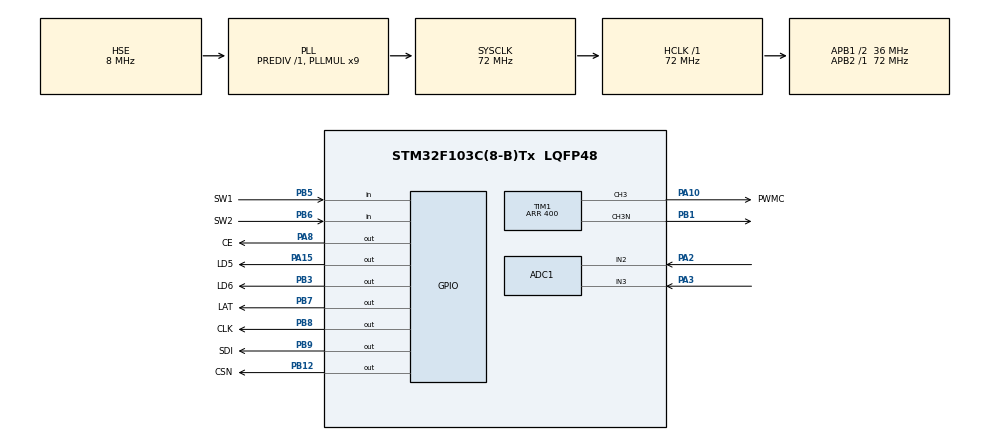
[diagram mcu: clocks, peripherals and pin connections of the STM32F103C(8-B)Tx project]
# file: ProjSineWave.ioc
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ADC1.Channel-0\#ChannelRegularConversion=ADC_CHANNEL_2
ADC1.Channel-1\#ChannelRegularConversion=ADC_CHANNEL_3
ADC1.ContinuousConvMode=ENABLE
ADC1.NbrOfConversion=2
ADC1.NbrOfConversionFlag=1
ADC1.Rank-0\#ChannelRegularConversion=1
ADC1.Rank-1\#ChannelRegularConversion=2
ADC1.SamplingTime-0\#ChannelRegularConversion=ADC_SAMPLETIME_1CYCLE_5
ADC1.SamplingTime-1\#ChannelRegularConversion=ADC_SAMPLETIME_1CYCLE_5
ADC1.master=1
Dma.ADC1.0.Direction=DMA_PERIPH_TO_MEMORY
Dma.ADC1.0.Instance=DMA1_Channel1
Dma.ADC1.0.MemDataAlignment=DMA_MDATAALIGN_WORD
Dma.ADC1.0.MemInc=DMA_MINC_ENABLE
Dma.ADC1.0.Mode=DMA_CIRCULAR
Dma.ADC1.0.PeriphDataAlignment=DMA_PDATAALIGN_WORD
Dma.ADC1.0.PeriphInc=DMA_PINC_DISABLE
Dma.ADC1.0.Priority=DMA_PRIORITY_LOW
Dma.Request0=ADC1
Mcu.Family=STM32F1
Mcu.Name=STM32F103C(8-B)Tx
Mcu.Package=LQFP48
NVIC.DMA1_Channel1_IRQn=true\:0\:0\:false\:false\:true\:false\:true
NVIC.PriorityGroup=NVIC_PRIORITYGROUP_4
NVIC.TIM2_IRQn=true\:0\:0\:false\:false\:true\:true\:true
PA0-WKUP.GPIO_Label=POT3
PA0-WKUP.Signal=ADCx_IN0
PA1.GPIO_Label=POT2
PA1.Signal=ADCx_IN1
PA10.GPIO_Label=PWMC
PA10.Signal=S_TIM1_CH3
PA13.GPIO_Label=SWDIO
PA13.Mode=Serial_Wire
PA13.Signal=SYS_JTMS-SWDIO
PA14.GPIO_Label=SWCLK
PA14.Mode=Serial_Wire
PA14.Signal=SYS_JTCK-SWCLK
PA15.GPIO_Label=LD5
PA15.GPIO_ModeDefaultOutputPP=GPIO_MODE_OUTPUT_PP
PA15.GPIO_PuPd=GPIO_NOPULL
PA15.GPIO_Speed=GPIO_SPEED_FREQ_HIGH
PA15.PinState=GPIO_PIN_RESET
PA15.Signal=GPIO_Output
PA2.Signal=ADCx_IN2
PA3.Signal=ADCx_IN3
PA5.GPIO_Label=POT1
PA5.Signal=ADCx_IN5
PA6.GPIO_Label=Temp
PA6.Signal=ADCx_IN6
PA7.GPIO_Label=PWMG
PA7.Signal=S_TIM3_CH2
PA8.GPIO_Label=CE
PA8.GPIO_Speed=GPIO_SPEED_FREQ_HIGH
PA8.Signal=GPIO_Output
PA9.GPIO_Label=PWMS
PA9.Signal=S_TIM1_CH2
PB0.GPIO_Label=PWMB
PB0.Signal=S_TIM3_CH3
PB1.Mode=PWM Generation3 CH3 CH3N
PB1.Signal=TIM1_CH3N
PB12.GPIO_Label=CSN
PB12.GPIO_Speed=GPIO_SPEED_FREQ_HIGH
PB12.Signal=GPIO_Output
PB13.GPIO_Label=SCK
PB13.Signal=SPI2_SCK
PB14.GPIO_Label=MISO
PB14.Signal=SPI2_MISO
PB15.GPIO_Label=MOSI
PB15.Signal=SPI2_MOSI
PB3.GPIO_Label=LD6
PB3.GPIO_ModeDefaultOutputPP=GPIO_MODE_OUTPUT_PP
PB3.GPIO_PuPd=GPIO_NOPULL
PB3.GPIO_Speed=GPIO_SPEED_FREQ_HIGH
PB3.PinState=GPIO_PIN_RESET
PB3.Signal=GPIO_Output
PB5.GPIO_Label=SW1
PB5.GPIO_Mode=GPIO_MODE_INPUT
PB5.GPIO_PuPd=GPIO_NOPULL
PB5.Signal=GPIO_Input
PB6.GPIO_Label=SW2
PB6.GPIO_Mode=GPIO_MODE_INPUT
PB6.GPIO_PuPd=GPIO_NOPULL
PB6.Signal=GPIO_Input
PB7.GPIO_Label=LAT
PB7.GPIO_ModeDefaultOutputPP=GPIO_MODE_OUTPUT_OD
PB7.GPIO_Speed=GPIO_SPEED_FREQ_HIGH
PB7.PinState=GPIO_PIN_RESET
PB7.Signal=GPIO_Output
PB8.GPIO_Label=CLK
PB8.GPIO_ModeDefaultOutputPP=GPIO_MODE_OUTPUT_OD
PB8.GPIO_Speed=GPIO_SPEED_FREQ_HIGH
PB8.PinState=GPIO_PIN_RESET
PB8.Signal=GPIO_Output
PB9.GPIO_Label=SDI
PB9.GPIO_ModeDefaultOutputPP=GPIO_MODE_OUTPUT_OD
PB9.GPIO_Speed=GPIO_SPEED_FREQ_HIGH
PB9.PinState=GPIO_PIN_RESET
PB9.Signal=GPIO_Output
PD0-OSC_IN.GPIO_Label=OSC_IN
PD0-OSC_IN.Mode=HSE-External-Oscillator
PD0-OSC_IN.Signal=RCC_OSC_IN
PD1-OSC_OUT.GPIO_Label=OSC_OUT
PD1-OSC_OUT.Mode=HSE-External-Oscillator
PD1-OSC_OUT.Signal=RCC_OSC_OUT
ProjectManager.HeapSize=0x200
ProjectManager.StackSize=0x400
ProjectManager.TargetToolchain=MDK-ARM V5.27
RCC.ADCPresc=RCC_ADCPCLK2_DIV6
RCC.AHBFreq_Value=72000000
RCC.APB1CLKDivider=RCC_HCLK_DIV2
RCC.APB1Freq_Value=36000000
RCC.APB1TimFreq_Value=72000000
RCC.APB2Freq_Value=72000000
RCC.APB2TimFreq_Value=72000000
RCC.HCLKFreq_Value=72000000
RCC.PLLMUL=RCC_PLL_MUL9
RCC.PLLSourceVirtual=RCC_PLLSOURCE_HSE
RCC.SYSCLKFreq_VALUE=72000000
RCC.SYSCLKSource=RCC_SYSCLKSOURCE_PLLCLK
RCC.USBFreq_Value=72000000
SH.ADCx_IN0.0=ADC1_IN0
SH.ADCx_IN1.0=ADC1_IN1
SH.ADCx_IN2.0=ADC1_IN2,IN2
SH.ADCx_IN3.0=ADC1_IN3,IN3
SH.ADCx_IN5.0=ADC1_IN5
SH.ADCx_IN6.0=ADC1_IN6
SH.S_TIM1_CH2.0=TIM1_CH2
SH.S_TIM1_CH3.0=TIM1_CH3,PWM Generation3 CH3 CH3N
SH.S_TIM3_CH2.0=TIM3_CH2
SH.S_TIM3_CH3.0=TIM3_CH3
TIM1.Channel-PWM\ Generation3\ CH3\ CH3N=TIM_CHANNEL_3
TIM1.Period=400
TIM2.Period=10000
VP_TIM2_VS_ClockSourceINT.Mode=Internal
board=custom

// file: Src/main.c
/* USER CODE BEGIN Header */
/**
  ******************************************************************************
  * @file           : main.c
  * @brief          : Main program body
  ******************************************************************************
  * @attention
  *
  * <h2><center>&copy; Copyright (c) 2020 STMicroelectronics.
  * All rights reserved.</center></h2>
  *
  * This software component is licensed by ST under BSD 3-Clause license,
  * the "License"; You may not use this file except in compliance with the
  * License. You may obtain a copy of the License at:
  *                        opensource.org/licenses/BSD-3-Clause
  *
  ******************************************************************************
  */
/* USER CODE END Header */

#include "main.h"
#include "adc.h"
#include "dma.h"
#include "tim.h"
#include "gpio.h"

/* USER CODE BEGIN Includes */
#include "arm_math.h"
/* USER CODE END Includes */

void SystemClock_Config(void);

/* USER CODE BEGIN 0 */
uint32_t adc_values[2];
float signal_period = 500.0f * 1e3, tim_cnt_period; // micro secconds
float potential_difference;
uint32_t computational_time;

/* Sine Wave Generation */
void HAL_TIM_PeriodElapsedCallback(TIM_HandleTypeDef *htim)
{
  uint32_t start_time = TIM2->CNT;
  static uint32_t counter = 0;
  if (htim == &htim2)
  {
    uint32_t counter_max = signal_period / (tim_cnt_period * htim2.Init.Period);
    counter = counter >= counter_max ? 0 : counter + 1;
    float theta = 360.0f * counter / counter_max, sinVal, cosVal;
    arm_sin_cos_f32(theta, &sinVal, &cosVal);
    TIM1->CCR3 = (sinVal + 1) * 0.5f * htim1.Init.Period;
    potential_difference = (int)adc_values[0] - (int)adc_values[1];
  }
  computational_time = TIM2->CNT - start_time;
}

/* Sawtooth Wave Generation */
void HAL_SYSTICK_Callback(void)
{
//  TIM1->CCR3 = TIM1->CCR3 >= TIM1->ARR ? 0 : TIM1->CCR3 + 1;
}
/* USER CODE END 0 */

int main(void)
{

  /* MCU Configuration--------------------------------------------------------*/

  /* Reset of all peripherals, Initializes the Flash interface and the Systick. */
  HAL_Init();

  /* Configure the system clock */
  SystemClock_Config();

  /* Initialize all configured peripherals */
  MX_GPIO_Init();
  MX_DMA_Init();
  MX_ADC1_Init();
  MX_TIM1_Init();
  MX_TIM2_Init();
  /* USER CODE BEGIN 2 */
  tim_cnt_period = 1e6 / SystemCoreClock; // 1000000 / 72000000

  HAL_NVIC_DisableIRQ(DMA1_Channel1_IRQn);
  HAL_ADCEx_Calibration_Start(&hadc1);
  HAL_ADC_Start_DMA(&hadc1, adc_values, 2);

  HAL_TIM_PWM_Start(&htim1, TIM_CHANNEL_3);
  HAL_TIMEx_PWMN_Start(&htim1,TIM_CHANNEL_3);

  HAL_TIM_Base_Start_IT(&htim2);

//  TIM1->CCR3 = 200; /* Constant Voltage Generation */
  /* USER CODE END 2 */

  /* Infinite loop */
  /* USER CODE BEGIN WHILE */
  while (1)
  {
//    for (TIM1->CCR3 = 0; TIM1->CCR3 < TIM1->ARR; TIM1->CCR3++)
//      HAL_Delay(1);
    /* USER CODE END WHILE */

  }
}

void SystemClock_Config(void)
{
  RCC_OscInitTypeDef RCC_OscInitStruct = {0};
  RCC_ClkInitTypeDef RCC_ClkInitStruct = {0};
  RCC_PeriphCLKInitTypeDef PeriphClkInit = {0};

  /** Initializes the CPU, AHB and APB busses clocks
  */
  RCC_OscInitStruct.OscillatorType = RCC_OSCILLATORTYPE_HSE;
  RCC_OscInitStruct.HSEState = RCC_HSE_ON;
  RCC_OscInitStruct.HSEPredivValue = RCC_HSE_PREDIV_DIV1;
  RCC_OscInitStruct.HSIState = RCC_HSI_ON;
  RCC_OscInitStruct.PLL.PLLState = RCC_PLL_ON;
  RCC_OscInitStruct.PLL.PLLSource = RCC_PLLSOURCE_HSE;
  RCC_OscInitStruct.PLL.PLLMUL = RCC_PLL_MUL9;
  if (HAL_RCC_OscConfig(&RCC_OscInitStruct) != HAL_OK)
  {
    Error_Handler();
  }
  /** Initializes the CPU, AHB and APB busses clocks
  */
  RCC_ClkInitStruct.ClockType = RCC_CLOCKTYPE_HCLK|RCC_CLOCKTYPE_SYSCLK
                              |RCC_CLOCKTYPE_PCLK1|RCC_CLOCKTYPE_PCLK2;
  RCC_ClkInitStruct.SYSCLKSource = RCC_SYSCLKSOURCE_PLLCLK;
  RCC_ClkInitStruct.AHBCLKDivider = RCC_SYSCLK_DIV1;
  RCC_ClkInitStruct.APB1CLKDivider = RCC_HCLK_DIV2;
  RCC_ClkInitStruct.APB2CLKDivider = RCC_HCLK_DIV1;

  if (HAL_RCC_ClockConfig(&RCC_ClkInitStruct, FLASH_LATENCY_2) != HAL_OK)
  {
    Error_Handler();
  }
  PeriphClkInit.PeriphClockSelection = RCC_PERIPHCLK_ADC;
  PeriphClkInit.AdcClockSelection = RCC_ADCPCLK2_DIV6;
  if (HAL_RCCEx_PeriphCLKConfig(&PeriphClkInit) != HAL_OK)
  {
    Error_Handler();
  }
}

void Error_Handler(void)
{
}

/************************ (C) COPYRIGHT STMicroelectronics *****END OF FILE****/
